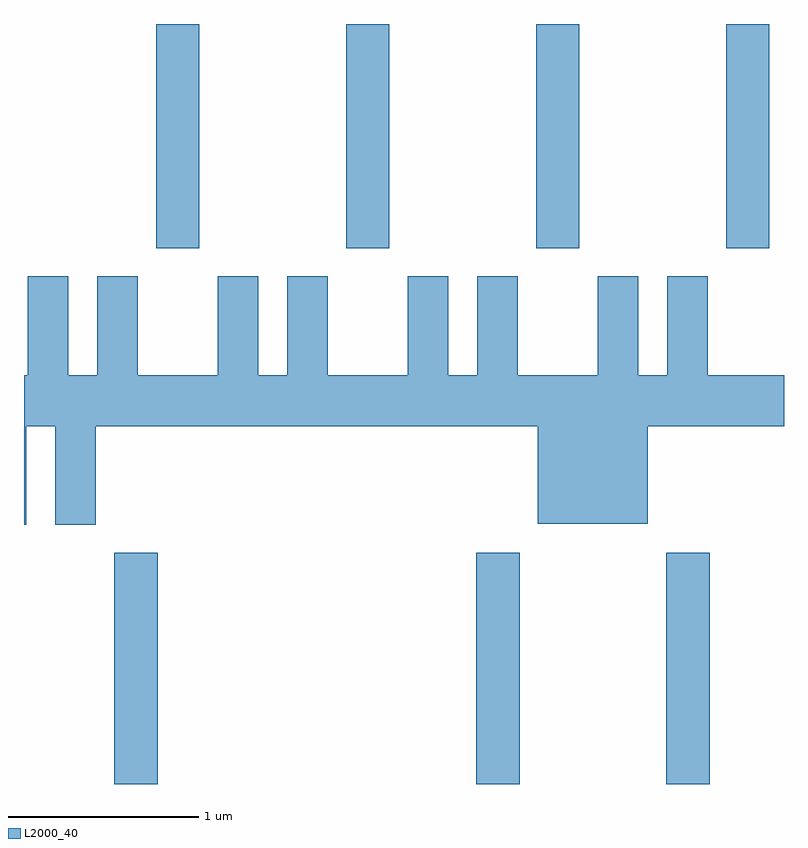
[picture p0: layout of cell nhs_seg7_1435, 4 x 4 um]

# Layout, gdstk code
import gdstk
lib = gdstk.Library(unit=1e-6, precision=1e-09)
def R(c, l, rs):  # rectangles x0, y0, x1, y1
    for r in rs: c.add(gdstk.rectangle(r[:2], r[2:], *l))
def A(c, l, x, y, w, h, nx, ny, dx, dy):  # array of equal rectangles
    R(c, l, [(x+i*dx, y+j*dy, x+i*dx+w, y+j*dy+h) for i in range(nx) for j in range(ny)])
def P(c, l, *ps):  # polygons
    for p in ps: c.add(gdstk.Polygon(p, *l))
L2000_40 = (2000, 40)

nhs_seg7_1435 = lib.new_cell('nhs_seg7_1435')
A(nhs_seg7_1435, L2000_40, 230.306, 1673.071, 0.228, 1.181, 4, 1, 1, 0)
R(nhs_seg7_1435, L2000_40, [(230.086,1670.252,230.314,1671.469), (231.991,1670.252,232.219,1671.469), (232.991,1670.252,233.219,1671.469)])
P(nhs_seg7_1435, L2000_40, [(229.624,1672.136),(229.776,1672.136),(229.776,1671.616),(229.989,1671.616),(229.989,1672.136),(232.316,1672.136),(232.316,1671.621),(232.894,1671.621),(232.894,1672.136),(233.611,1672.136),(233.611,1672.404),(233.209,1672.404),(233.209,1672.924),(232.996,1672.924),(232.996,1672.404),(232.844,1672.404),(232.844,1672.924),(232.631,1672.924),(232.631,1672.404),(232.209,1672.404),(232.209,1672.924),(231.996,1672.924),(231.996,1672.404),(231.844,1672.404),(231.844,1672.924),(231.631,1672.924),(231.631,1672.404),(231.209,1672.404),(231.209,1672.924),(230.996,1672.924),(230.996,1672.404),(230.844,1672.404),(230.844,1672.924),(230.631,1672.924),(230.631,1672.404),(230.209,1672.404),(230.209,1672.924),(229.996,1672.924),(229.996,1672.404),(229.844,1672.404),(229.844,1672.924),(229.631,1672.924),(229.631,1672.404),(229.611,1672.404),(229.611,1671.616),(229.624,1671.616)])

lib.write_gds('nhs_seg7_1435.gds')
